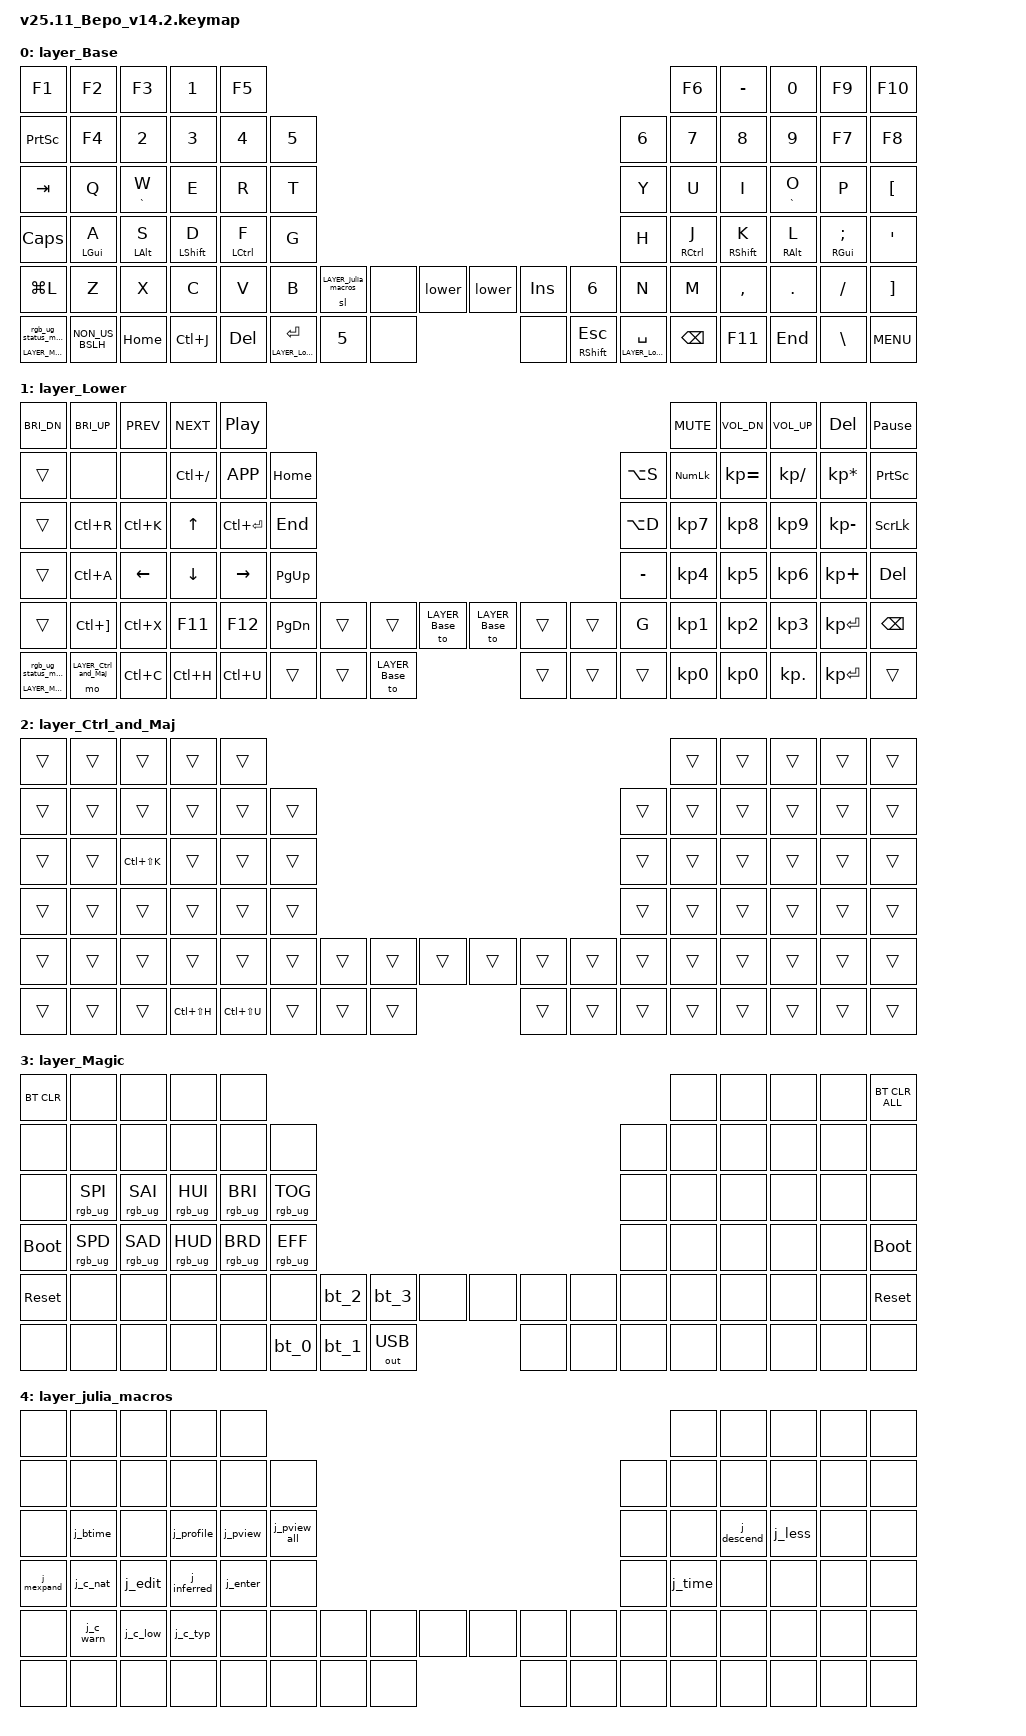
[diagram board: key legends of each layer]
/*
 * Copyright (c) 2020 The ZMK Contributors
 * Copyright (c) 2025 Innaworks Development Limited, trading as MoErgo
 *
 * SPDX-License-Identifier: MIT
 */


/* THIS FILE WAS GENERATED BY GLOVE80 LAYOUT EDITOR
 *
 * This file was generated automatically. You may or may not want to
 * edit it directly.
 */

#include <behaviors.dtsi>
/* Include all behavior includes needed */
#include <dt-bindings/zmk/outputs.h>
#include <dt-bindings/zmk/keys.h>
#include <dt-bindings/zmk/bt.h>
#include <dt-bindings/zmk/rgb.h>

/* On demand includes */


/* Helper Macros, based on https://github.com/urob/zmk-helpers/ */

#pragma once

#define ZMK_HELPER_STRINGIFY(x) #x

// Preprocessor mechanism to overload macros, cf. https://stackoverflow.com/a/27051616/6114651
#define VARGS_(_10, _9, _8, _7, _6, _5, _4, _3, _2, _1, N, ...) N
#define VARGS(...) VARGS_(__VA_ARGS__, 10, 9, 8, 7, 6, 5, 4, 3, 2, 1, 0)
#define CONCAT_(a, b) a##b
#define CONCAT(a, b) CONCAT_(a, b)

#define ZMK_BEHAVIOR_CORE_tap_dance  \
    compatible = "zmk,behavior-tap-dance"; \
    #binding-cells = <0>

#define ZMK_BEHAVIOR(name, type, ...) \
    name: name { \
        ZMK_BEHAVIOR_CORE_ ## type; \
        __VA_ARGS__ \
    };

#define ZMK_TAP_DANCE(name, ...) \
    ZMK_BEHAVIOR(name, tap_dance, __VA_ARGS__)

#define ZMK_TD_LAYER(name, layer) \
    ZMK_TAP_DANCE(name, \
        tapping-term-ms = <200>; \
        bindings = <&mo layer>, <&to layer>; \
)

/* Environment and metadata defines */
#define KB_TYPE_GLOVE_80 1
#define KB_TYPE_GO_60    2

#define KB_TYPE          KB_TYPE_GLOVE_80
#define EDITOR_HOST_OS   'L'

/* Automatically generated layer name defines */
#define LAYER_Base 0
#define LAYER_Lower 1
#define LAYER_Ctrl_and_Maj 2
#define LAYER_Magic 3
#define LAYER_julia_macros 4

/* To deal with the situation where there is no Lower layer, to keep &lower happy */
#ifndef LAYER_Lower
#define LAYER_Lower 0
#endif

/* Custom Device-tree */


/* Input Listeners */


/* System behavior and Macros */
/ {
    behaviors {
        ZMK_TD_LAYER(lower, LAYER_Lower)
    };
};

/ {
    macros {
        rgb_ug_status_macro: rgb_ug_status_macro {
            label = "RGB_UG_STATUS";
            compatible = "zmk,behavior-macro";
            #binding-cells = <0>;
            bindings
                = <&rgb_ug RGB_STATUS>;
        };
    };
};


/ {
#ifdef BT_DISC_CMD
    behaviors {
        bt_0: bt_0 {
            compatible = "zmk,behavior-tap-dance";
            label = "BT_0";
            #binding-cells = <0>;
            tapping-term-ms = <200>;
            bindings = <&bt_select_0>, <&bt BT_DISC 0>;
        };
        bt_1: bt_1 {
            compatible = "zmk,behavior-tap-dance";
            label = "BT_1";
            #binding-cells = <0>;
            tapping-term-ms = <200>;
            bindings = <&bt_select_1>, <&bt BT_DISC 1>;
        };
        bt_2: bt_2 {
            compatible = "zmk,behavior-tap-dance";
            label = "BT_2";
            #binding-cells = <0>;
            tapping-term-ms = <200>;
            bindings = <&bt_select_2>, <&bt BT_DISC 2>;
        };
        bt_3: bt_3 {
            compatible = "zmk,behavior-tap-dance";
            label = "BT_3";
            #binding-cells = <0>;
            tapping-term-ms = <200>;
            bindings = <&bt_select_3>, <&bt BT_DISC 3>;
        };
    };
    macros {
        bt_select_0: bt_select_0 {
            label = "BT_SELECT_0";
            compatible = "zmk,behavior-macro";
            #binding-cells = <0>;
            bindings
                = <&out OUT_BLE>,
                  <&bt BT_SEL 0>;
        };
        bt_select_1: bt_select_1 {
            label = "BT_SELECT_1";
            compatible = "zmk,behavior-macro";
            #binding-cells = <0>;
            bindings
                = <&out OUT_BLE>,
                  <&bt BT_SEL 1>;
        };
        bt_select_2: bt_select_2 {
            label = "BT_SELECT_2";
            compatible = "zmk,behavior-macro";
            #binding-cells = <0>;
            bindings
                = <&out OUT_BLE>,
                  <&bt BT_SEL 2>;
        };
        bt_select_3: bt_select_3 {
            label = "BT_SELECT_3";
            compatible = "zmk,behavior-macro";
            #binding-cells = <0>;
            bindings
                = <&out OUT_BLE>,
                  <&bt BT_SEL 3>;
        };
    };
#else
    macros {
        bt_0: bt_0 {
            label = "BT_0";
            compatible = "zmk,behavior-macro";
            #binding-cells = <0>;
            bindings
                = <&out OUT_BLE>,
                  <&bt BT_SEL 0>;
        };
        bt_1: bt_1 {
            label = "BT_1";
            compatible = "zmk,behavior-macro";
            #binding-cells = <0>;
            bindings
                = <&out OUT_BLE>,
                  <&bt BT_SEL 1>;
        };
        bt_2: bt_2 {
            label = "BT_2";
            compatible = "zmk,behavior-macro";
            #binding-cells = <0>;
            bindings
                = <&out OUT_BLE>,
                  <&bt BT_SEL 2>;
        };
        bt_3: bt_3 {
            label = "BT_3";
            compatible = "zmk,behavior-macro";
            #binding-cells = <0>;
            bindings
                = <&out OUT_BLE>,
                  <&bt BT_SEL 3>;
        };
    };
#endif
};

/ {
    behaviors {
        magic: magic {
            compatible = "zmk,behavior-hold-tap";
            label = "MAGIC_HOLD_TAP";
            #binding-cells = <2>;
            flavor = "tap-preferred";
            tapping-term-ms = <200>;
            bindings = <&mo>, <&rgb_ug_status_macro>;
        };
    };
};


/* Key positions */

#define POS_LH_C6R1 0
#define POS_LH_C5R1 1
#define POS_LH_C4R1 2
#define POS_LH_C3R1 3
#define POS_LH_C2R1 4
#define POS_RH_C2R1 5
#define POS_RH_C3R1 6
#define POS_RH_C4R1 7
#define POS_RH_C5R1 8
#define POS_RH_C6R1 9
#define POS_LH_C6R2 10
#define POS_LH_C5R2 11
#define POS_LH_C4R2 12
#define POS_LH_C3R2 13
#define POS_LH_C2R2 14
#define POS_LH_C1R2 15
#define POS_RH_C1R2 16
#define POS_RH_C2R2 17
#define POS_RH_C3R2 18
#define POS_RH_C4R2 19
#define POS_RH_C5R2 20
#define POS_RH_C6R2 21
#define POS_LH_C6R3 22
#define POS_LH_C5R3 23
#define POS_LH_C4R3 24
#define POS_LH_C3R3 25
#define POS_LH_C2R3 26
#define POS_LH_C1R3 27
#define POS_RH_C1R3 28
#define POS_RH_C2R3 29
#define POS_RH_C3R3 30
#define POS_RH_C4R3 31
#define POS_RH_C5R3 32
#define POS_RH_C6R3 33
#define POS_LH_C6R4 34
#define POS_LH_C5R4 35
#define POS_LH_C4R4 36
#define POS_LH_C3R4 37
#define POS_LH_C2R4 38
#define POS_LH_C1R4 39
#define POS_RH_C1R4 40
#define POS_RH_C2R4 41
#define POS_RH_C3R4 42
#define POS_RH_C4R4 43
#define POS_RH_C5R4 44
#define POS_RH_C6R4 45
#define POS_LH_C6R5 46
#define POS_LH_C5R5 47
#define POS_LH_C4R5 48
#define POS_LH_C3R5 49
#define POS_LH_C2R5 50
#define POS_LH_C1R5 51
#define POS_LH_T1 52
#define POS_LH_T2 53
#define POS_LH_T3 54
#define POS_RH_T3 55
#define POS_RH_T2 56
#define POS_RH_T1 57
#define POS_RH_C1R5 58
#define POS_RH_C2R5 59
#define POS_RH_C3R5 60
#define POS_RH_C4R5 61
#define POS_RH_C5R5 62
#define POS_RH_C6R5 63
#define POS_LH_C6R6 64
#define POS_LH_C5R6 65
#define POS_LH_C4R6 66
#define POS_LH_C3R6 67
#define POS_LH_C2R6 68
#define POS_LH_T4 69
#define POS_LH_T5 70
#define POS_LH_T6 71
#define POS_RH_T6 72
#define POS_RH_T5 73
#define POS_RH_T4 74
#define POS_RH_C2R6 75
#define POS_RH_C3R6 76
#define POS_RH_C4R6 77
#define POS_RH_C5R6 78
#define POS_RH_C6R6 79


/* Custom Defined Behaviors */
/ {
behaviors {
    behavior_layer_tap {
        flavor = "tap-preferred";
        tapping-term-ms = <200>;
        quick-tap-ms = <200>;
    };
};

behaviors {
    behavior_mod_tap {
        flavor = "tap-preferred";
        tapping-term-ms = <170>;
        quick-tap-ms = <170>;
    };
};

#define MY_KEYS_L 0 1 2 3 4  10 11 12 13 14 15    22 23 24 25 26 27    34 35 36 37 38 39    46 47 48 49 50 51   64 65 66 67 68 // left-hand keys
#define MY_KEYS_R 5 6 7 8 9    16 17 18 19 20 21    28 29 30 31 32 33    40 41 42 43 44 45    58 59 60 61 62 63    75 76 77 78 79  // right-hand keys
#define MY_THUMBS 52 53 54 55 56 57  69 70 71 72 73 74

behaviors {
        hml: left_positional_hold_tap {
            compatible = "zmk,behavior-hold-tap";
            #binding-cells = <2>;
            flavor = "balanced";
            tapping-term-ms = <190>;
            quick-tap-ms = <190>;                // repeat on tap-into-hold
            require-prior-idle-ms = <110>;
            bindings = <&kp>, <&kp>;
            hold-trigger-key-positions = <MY_KEYS_R MY_THUMBS>;
            hold-trigger-on-release;             // delay positional check until key-release
        };

        hmr: right_positional_hold_tap {
            compatible = "zmk,behavior-hold-tap";
            #binding-cells = <2>;
            flavor = "balanced";
            tapping-term-ms = <190>;
            quick-tap-ms = <190>;                // repeat on tap-into-hold
            require-prior-idle-ms = <110>;
            bindings = <&kp>, <&kp>;
            hold-trigger-key-positions = <MY_KEYS_L MY_THUMBS>;
            hold-trigger-on-release;             // delay positional check until key-release
        };
};
};

/* Generated input processors */


/* Automatically generated macro definitions */
/ {
    macros {

        // antislash_and_underscore
        anti_under: anti_under {
            label = "&ANTI_UNDER";
            compatible = "zmk,behavior-macro";
            #binding-cells = <0>;
            tap-ms = <4>;
            wait-ms = <2>;
            bindings = <&kp RA(E)>
                , <&kp RA(M)>;
        };

        // ⇱@btime␣
        j_btime: j_btime {
            label = "&J_BTIME";
            compatible = "zmk,behavior-macro";
            #binding-cells = <0>;
            tap-ms = <4>;
            wait-ms = <2>;
            bindings = <&kp HOME>
                , <&kp N9>
                , <&kp Q>
                , <&kp J>
                , <&kp D>
                , <&kp SQT>
                , <&kp F>
                , <&kp SPACE>;
        };

        // ⇱@code_warntype␣
        j_c_warn: j_c_warn {
            label = "&J_C_WARN";
            compatible = "zmk,behavior-macro";
            #binding-cells = <0>;
            tap-ms = <4>;
            wait-ms = <2>;
            bindings = <&kp HOME>
                , <&kp N9>
                , <&kp H>
                , <&kp R>
                , <&kp I>
                , <&kp F>
                , <&kp LA(M)>
                , <&kp Z>
                , <&kp A>
                , <&kp L>
                , <&kp SEMI>
                , <&kp J>
                , <&kp X>
                , <&kp E>
                , <&kp F>
                , <&kp SPACE>;
        };

        // ⇱@enter␣
        j_enter: j_enter {
            label = "&J_ENTER";
            compatible = "zmk,behavior-macro";
            #binding-cells = <0>;
            tap-ms = <4>;
            wait-ms = <2>;
            bindings = <&kp HOME>
                , <&kp N9>
                , <&kp F>
                , <&kp SEMI>
                , <&kp J>
                , <&kp F>
                , <&kp L>
                , <&kp SPACE>;
        };

        // ⇱@profile␣
        j_profile: j_profile {
            label = "&J_PROFILE";
            compatible = "zmk,behavior-macro";
            #binding-cells = <0>;
            tap-ms = <4>;
            wait-ms = <2>;
            bindings = <&kp HOME>
                , <&kp N9>
                , <&kp E>
                , <&kp L>
                , <&kp R>
                , <&kp FSLH>
                , <&kp D>
                , <&kp O>
                , <&kp F>
                , <&kp SPACE>;
        };

        // ⇱@profview␣
        j_pview: j_pview {
            label = "&J_PVIEW";
            compatible = "zmk,behavior-macro";
            #binding-cells = <0>;
            tap-ms = <4>;
            wait-ms = <2>;
            bindings = <&kp HOME>
                , <&kp N9>
                , <&kp E>
                , <&kp L>
                , <&kp R>
                , <&kp FSLH>
                , <&kp U>
                , <&kp D>
                , <&kp F>
                , <&kp Z>
                , <&kp SPACE>;
        };

        // ⇱@code_lowered␣
        j_c_low: j_c_low {
            label = "&J_C_LOW";
            compatible = "zmk,behavior-macro";
            #binding-cells = <0>;
            tap-ms = <4>;
            wait-ms = <2>;
            bindings = <&kp HOME>
                , <&kp N9>
                , <&kp H>
                , <&kp R>
                , <&kp I>
                , <&kp F>
                , <&kp LA(M)>
                , <&kp O>
                , <&kp R>
                , <&kp Z>
                , <&kp F>
                , <&kp L>
                , <&kp F>
                , <&kp I>
                , <&kp SPACE>;
        };

        // ⇱@edit␣
        j_edit: j_edit {
            label = "&J_EDIT";
            compatible = "zmk,behavior-macro";
            #binding-cells = <0>;
            tap-ms = <4>;
            wait-ms = <2>;
            bindings = <&kp HOME>
                , <&kp N9>
                , <&kp F>
                , <&kp I>
                , <&kp D>
                , <&kp J>
                , <&kp SPACE>;
        };

        // ⇱@code_native␣
        j_c_nat: j_c_nat {
            label = "&J_C_NAT";
            compatible = "zmk,behavior-macro";
            #binding-cells = <0>;
            tap-ms = <4>;
            wait-ms = <2>;
            bindings = <&kp HOME>
                , <&kp N9>
                , <&kp H>
                , <&kp R>
                , <&kp I>
                , <&kp F>
                , <&kp LA(M)>
                , <&kp SEMI>
                , <&kp A>
                , <&kp J>
                , <&kp D>
                , <&kp U>
                , <&kp F>
                , <&kp SPACE>;
        };

        // ⇱@macroexpand␣
        j_mexpand: j_mexpand {
            label = "&J_MEXPAND";
            compatible = "zmk,behavior-macro";
            #binding-cells = <0>;
            tap-ms = <4>;
            wait-ms = <2>;
            bindings = <&kp HOME>
                , <&kp N9>
                , <&kp SQT>
                , <&kp A>
                , <&kp H>
                , <&kp L>
                , <&kp R>
                , <&kp F>
                , <&kp C>
                , <&kp E>
                , <&kp A>
                , <&kp SEMI>
                , <&kp I>
                , <&kp SPACE>;
        };

        // ⇱@inferred␣
        j_inferred: j_inferred {
            label = "&J_INFERRED";
            compatible = "zmk,behavior-macro";
            #binding-cells = <0>;
            tap-ms = <4>;
            wait-ms = <2>;
            bindings = <&kp HOME>
                , <&kp N9>
                , <&kp D>
                , <&kp SEMI>
                , <&kp FSLH>
                , <&kp F>
                , <&kp L>
                , <&kp L>
                , <&kp F>
                , <&kp I>
                , <&kp SPACE>;
        };

        // ⇱@less␣
        j_less: j_less {
            label = "&J_LESS";
            compatible = "zmk,behavior-macro";
            #binding-cells = <0>;
            tap-ms = <4>;
            wait-ms = <2>;
            bindings = <&kp HOME>
                , <&kp N9>
                , <&kp O>
                , <&kp F>
                , <&kp K>
                , <&kp K>
                , <&kp SPACE>;
        };

        // ⇱@time␣
        j_time: j_time {
            label = "&J_TIME";
            compatible = "zmk,behavior-macro";
            #binding-cells = <0>;
            tap-ms = <4>;
            wait-ms = <2>;
            bindings = <&kp HOME>
                , <&kp N9>
                , <&kp J>
                , <&kp D>
                , <&kp SQT>
                , <&kp F>
                , <&kp SPACE>;
        };

        // ⇱@profview_allocs␣
        j_pview_all: j_pview_all {
            label = "&J_PVIEW_ALL";
            compatible = "zmk,behavior-macro";
            #binding-cells = <0>;
            tap-ms = <4>;
            wait-ms = <2>;
            bindings = <&kp HOME>
                , <&kp N9>
                , <&kp E>
                , <&kp L>
                , <&kp R>
                , <&kp FSLH>
                , <&kp U>
                , <&kp D>
                , <&kp F>
                , <&kp Z>
                , <&kp LA(M)>
                , <&kp A>
                , <&kp O>
                , <&kp O>
                , <&kp R>
                , <&kp H>
                , <&kp K>
                , <&kp SPACE>;
        };

        // ⇱@code_typed␣
        j_c_typ: j_c_typ {
            label = "&J_C_TYP";
            compatible = "zmk,behavior-macro";
            #binding-cells = <0>;
            tap-ms = <4>;
            wait-ms = <2>;
            bindings = <&kp HOME>
                , <&kp N9>
                , <&kp H>
                , <&kp R>
                , <&kp I>
                , <&kp F>
                , <&kp LA(M)>
                , <&kp J>
                , <&kp X>
                , <&kp E>
                , <&kp F>
                , <&kp I>
                , <&kp SPACE>;
        };

        // ⇱@descend␣
        j_descend: j_descend {
            label = "&J_DESCEND";
            compatible = "zmk,behavior-macro";
            #binding-cells = <0>;
            tap-ms = <4>;
            wait-ms = <2>;
            bindings = <&kp HOME>
                , <&kp N9>
                , <&kp I>
                , <&kp F>
                , <&kp K>
                , <&kp H>
                , <&kp F>
                , <&kp SEMI>
                , <&kp I>
                , <&kp SPACE>;
        };
    };
};

/* Automatically generated behavior definitions */
/ {
    behaviors {


    };
};

/* Automatically generated combos definitions */


/* Automatically generated keymap */
/ {
    keymap {
        compatible = "zmk,keymap";


        layer_Base {
            bindings = <
               &kp F1           &kp F2        &kp F3        &kp N1        &kp F5                                                                                                              &kp F6     &kp MINUS        &kp N0          &kp F9     &kp F10
            &kp PSCRN           &kp F4        &kp N2        &kp N3        &kp N4  &kp N5                                                                                        &kp N6        &kp N7        &kp N8        &kp N9          &kp F7      &kp F8
              &kp TAB            &kp Q  &hml GRAVE W         &kp E         &kp R   &kp T                                                                                         &kp Y         &kp U         &kp I  &hml GRAVE O           &kp P    &kp LBKT
             &kp CAPS      &hml LGUI A   &hml LALT S  &hml LSHFT D  &hml LCTRL F   &kp G                                                                                         &kp H  &hmr RCTRL J  &hmr RSHFT K   &hmr RALT L  &hmr RGUI SEMI     &kp SQT
            &kp LG(L)            &kp Z         &kp X         &kp C         &kp V   &kp B  &sl LAYER_julia_macros   &none  &lower  &lower        &kp INS                 &kp N6   &kp N         &kp M     &kp COMMA       &kp DOT        &kp FSLH    &kp RBKT
 &magic LAYER_Magic 0  &kp NON_US_BSLH      &kp HOME     &kp LC(J)       &kp DEL             &lt LAYER_Lower RET  &kp N5   &none   &none  &mt RSHFT ESC  &lt LAYER_Lower SPACE              &kp BSPC       &kp F11       &kp END        &kp BSLH  &kp C_MENU
            >;
        };

        layer_Lower {
            bindings = <
         &kp C_BRI_DN            &kp C_BRI_UP      &kp C_PREV      &kp C_NEXT         &kp C_PP                                                                                        &kp C_MUTE  &kp C_VOL_DN  &kp C_VOL_UP          &kp DEL  &kp PAUSE_BREAK
               &trans                   &none           &none    &kp LC(FSLH)        &kp K_APP   &kp HOME                                                                  &kp LA(S)  &kp KP_NUM  &kp KP_EQUAL  &kp KP_SLASH  &kp KP_MULTIPLY  &kp PRINTSCREEN
               &trans               &kp LC(R)       &kp LC(K)    &kp UP_ARROW      &kp LC(RET)    &kp END                                                                  &kp LA(D)   &kp KP_N7     &kp KP_N8     &kp KP_N9     &kp KP_MINUS   &kp SCROLLLOCK
               &trans               &kp LC(A)  &kp LEFT_ARROW  &kp DOWN_ARROW  &kp RIGHT_ARROW  &kp PG_UP                                                                  &kp MINUS   &kp KP_N4     &kp KP_N5     &kp KP_N6      &kp KP_PLUS          &kp DEL
               &trans            &kp LC(RBKT)       &kp LC(X)         &kp F11          &kp F12  &kp PG_DN  &trans  &trans  &to LAYER_Base  &to LAYER_Base  &trans  &trans      &kp G   &kp KP_N1     &kp KP_N2     &kp KP_N3     &kp KP_ENTER         &kp BSPC
 &magic LAYER_Magic 0  &mo LAYER_Ctrl_and_Maj       &kp LC(C)       &kp LC(H)        &kp LC(U)             &trans  &trans  &to LAYER_Base          &trans  &trans  &trans              &kp KP_N0     &kp KP_N0    &kp KP_DOT     &kp KP_ENTER           &trans
            >;
        };

        layer_Ctrl_and_Maj {
            bindings = <
 &trans  &trans         &trans         &trans         &trans                                                                  &trans  &trans  &trans  &trans  &trans
 &trans  &trans         &trans         &trans         &trans  &trans                                                  &trans  &trans  &trans  &trans  &trans  &trans
 &trans  &trans  &kp LC(LS(K))         &trans         &trans  &trans                                                  &trans  &trans  &trans  &trans  &trans  &trans
 &trans  &trans         &trans         &trans         &trans  &trans                                                  &trans  &trans  &trans  &trans  &trans  &trans
 &trans  &trans         &trans         &trans         &trans  &trans  &trans  &trans  &trans  &trans  &trans  &trans  &trans  &trans  &trans  &trans  &trans  &trans
 &trans  &trans         &trans  &kp LC(LS(H))  &kp LC(LS(U))          &trans  &trans  &trans  &trans  &trans  &trans          &trans  &trans  &trans  &trans  &trans
            >;
        };

        layer_Magic {
            bindings = <
  &bt BT_CLR            &none            &none            &none            &none                                                                                  &none   &none   &none   &none  &bt BT_CLR_ALL
       &none            &none            &none            &none            &none            &none                                                         &none   &none   &none   &none   &none           &none
       &none  &rgb_ug RGB_SPI  &rgb_ug RGB_SAI  &rgb_ug RGB_HUI  &rgb_ug RGB_BRI  &rgb_ug RGB_TOG                                                         &none   &none   &none   &none   &none           &none
 &bootloader  &rgb_ug RGB_SPD  &rgb_ug RGB_SAD  &rgb_ug RGB_HUD  &rgb_ug RGB_BRD  &rgb_ug RGB_EFF                                                         &none   &none   &none   &none   &none     &bootloader
  &sys_reset            &none            &none            &none            &none            &none   &bt_2   &bt_3         &none   &none   &none   &none   &none   &none   &none   &none   &none      &sys_reset
       &none            &none            &none            &none            &none                    &bt_0   &bt_1  &out OUT_USB   &none   &none   &none           &none   &none   &none   &none           &none
            >;
        };

        layer_julia_macros {
            bindings = <
      &none      &none     &none        &none     &none                                                                          &none       &none    &none   &none   &none
      &none      &none     &none        &none     &none         &none                                                   &none    &none       &none    &none   &none   &none
      &none   &j_btime     &none   &j_profile  &j_pview  &j_pview_all                                                   &none    &none  &j_descend  &j_less   &none   &none
 &j_mexpand   &j_c_nat   &j_edit  &j_inferred  &j_enter         &none                                                   &none  &j_time       &none    &none   &none   &none
      &none  &j_c_warn  &j_c_low     &j_c_typ     &none         &none   &none   &none   &none   &none   &none   &none   &none    &none       &none    &none   &none   &none
      &none      &none     &none        &none     &none                 &none   &none   &none   &none   &none   &none            &none       &none    &none   &none   &none
            >;
        };

    };
};
